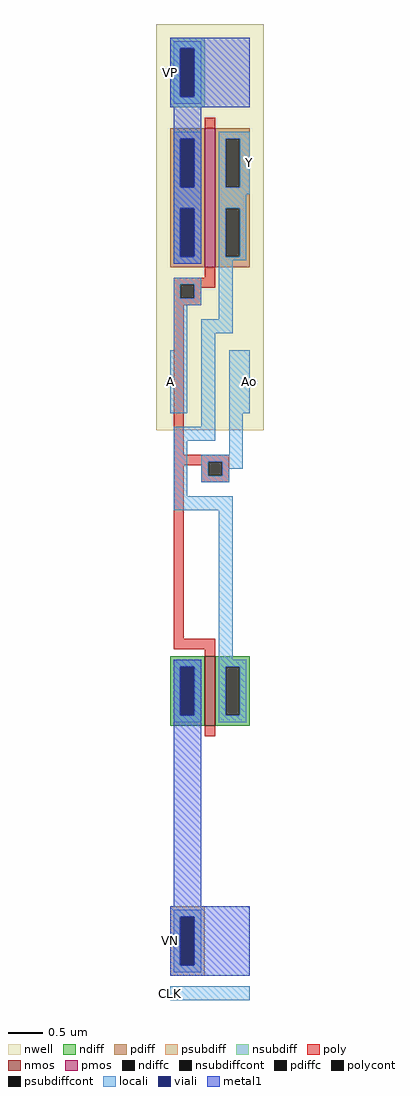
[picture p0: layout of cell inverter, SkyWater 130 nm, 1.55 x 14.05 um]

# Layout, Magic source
magic
tech sky130A
<< nwell >>
rect -70 655 85 1240
<< nmos >>
rect 0 230 15 330
<< pmos >>
rect 0 890 15 1090
<< ndiff >>
rect -50 315 0 330
rect -50 245 -35 315
rect -15 245 0 315
rect -50 230 0 245
rect 15 315 65 330
rect 15 245 30 315
rect 50 245 65 315
rect 15 230 65 245
<< pdiff >>
rect -50 1075 0 1090
rect -50 1005 -35 1075
rect -15 1005 0 1075
rect -50 975 0 1005
rect -50 905 -35 975
rect -15 905 0 975
rect -50 890 0 905
rect 15 1075 65 1090
rect 15 1005 30 1075
rect 50 1005 65 1075
rect 15 975 65 1005
rect 15 905 30 975
rect 50 905 65 975
rect 15 890 65 905
<< ndiffc >>
rect -35 245 -15 315
rect 30 245 50 315
<< pdiffc >>
rect -35 1005 -15 1075
rect -35 905 -15 975
rect 30 1005 50 1075
rect 30 905 50 975
<< psubdiff >>
rect -50 -45 0 -30
rect -50 -115 -35 -45
rect -15 -115 0 -45
rect -50 -130 0 -115
<< nsubdiff >>
rect -50 1205 0 1220
rect -50 1135 -35 1205
rect -15 1135 0 1205
rect -50 1120 0 1135
<< psubdiffcont >>
rect -35 -115 -15 -45
<< nsubdiffcont >>
rect -35 1135 -15 1205
<< poly >>
rect 0 1090 15 1105
rect 0 875 15 890
rect -45 865 15 875
rect -45 845 -35 865
rect -15 860 15 865
rect -15 845 -5 860
rect -45 835 -5 845
rect -45 620 -30 835
rect -45 610 35 620
rect -45 605 5 610
rect -45 355 -30 605
rect -5 590 5 605
rect 25 590 35 610
rect -5 580 35 590
rect -45 340 15 355
rect 0 330 15 340
rect 0 215 15 230
<< polycont >>
rect -35 845 -15 865
rect 5 590 25 610
<< locali >>
rect -45 1205 -5 1215
rect -45 1135 -35 1205
rect -15 1135 -5 1205
rect -45 1125 -5 1135
rect -45 1075 -5 1085
rect -45 1005 -35 1075
rect -15 1005 -5 1075
rect -45 975 -5 1005
rect -45 905 -35 975
rect -15 905 -5 975
rect -45 895 -5 905
rect 20 1075 65 1085
rect 20 1005 30 1075
rect 50 1005 65 1075
rect 20 995 65 1005
rect 20 975 60 995
rect 20 905 30 975
rect 50 905 60 975
rect 20 900 60 905
rect -45 865 -5 875
rect -45 845 -35 865
rect -15 845 -5 865
rect -45 835 -5 845
rect -45 770 -25 835
rect 20 815 40 900
rect -50 680 -25 770
rect -5 795 40 815
rect -5 660 15 795
rect -45 640 15 660
rect 35 680 65 770
rect -45 560 -25 640
rect 35 620 55 680
rect -5 610 55 620
rect -5 590 5 610
rect 25 600 55 610
rect 25 590 35 600
rect -5 580 35 590
rect -45 540 40 560
rect 20 325 40 540
rect -45 315 -5 325
rect -45 245 -35 315
rect -15 245 -5 315
rect -45 235 -5 245
rect 20 315 60 325
rect 20 245 30 315
rect 50 245 60 315
rect 20 235 60 245
rect -45 -45 -5 -35
rect -45 -115 -35 -45
rect -15 -115 -5 -45
rect -45 -125 -5 -115
rect -50 -165 65 -145
<< viali >>
rect -35 1135 -15 1205
rect -35 1005 -15 1075
rect -35 905 -15 975
rect -35 245 -15 315
rect -35 -115 -15 -45
<< metal1 >>
rect -50 1205 65 1220
rect -50 1135 -35 1205
rect -15 1135 65 1205
rect -50 1120 65 1135
rect -45 1075 -5 1120
rect -45 1005 -35 1075
rect -15 1005 -5 1075
rect -45 975 -5 1005
rect -45 905 -35 975
rect -15 905 -5 975
rect -45 895 -5 905
rect -45 315 -5 325
rect -45 245 -35 315
rect -15 245 -5 315
rect -45 -30 -5 245
rect -50 -45 65 -30
rect -50 -115 -35 -45
rect -15 -115 65 -45
rect -50 -130 65 -115
<< labels >>
rlabel metal1 -50 1170 -50 1170 7 VP
port 3 w
rlabel locali -50 725 -50 725 7 A
port 1 w
rlabel locali 65 1040 65 1040 3 Y
port 2 e
rlabel metal1 -50 -80 -50 -80 7 VN
port 4 w
rlabel locali -50 -155 -50 -155 7 CLK
port 5 w
rlabel locali 65 725 65 725 3 Ao
port 6 e
<< end >>
